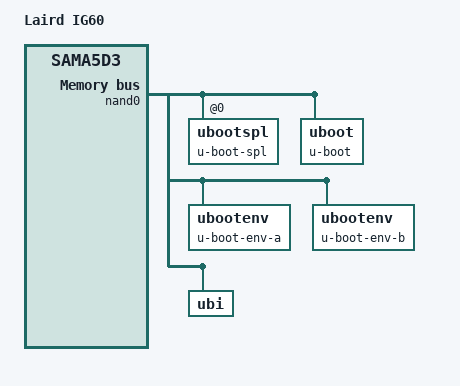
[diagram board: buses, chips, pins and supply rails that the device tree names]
/*
 * at91-ig60.dts - Device Tree file for the Sentrius IG60
 *
 *  Copyright (C) 2018 Laird Connectivity,
 *		  2018 James Kalbfleisch <james.kalbfleisch@lairdconnect.com>
 *
 * Licensed under GPLv2 or later.
 */

/dts-v1/;

#include "at91-som60_common.dtsi"
#include "at91-ig60.dtsi"

/ {
	model = "Laird IG60";
	compatible = "laird,ig60", "atmel,sama5d36", "atmel,sama5d3", "atmel,sama5";

	config {
		bootdelay = <(-2)>;
	};
};

&nand0 {
	ubootspl@0 {
		label = "u-boot-spl";
		reg = <0x0 0x20000>;
	};

	uboot@20000 {
		label = "u-boot";
		reg = <0x20000 0x80000>;
	};

	ubootenv@a0000 {
		label = "u-boot-env-a";
		reg = <0xa0000 0x20000>;
	};

	ubootenv@c0000 {
		label = "u-boot-env-b";
		reg = <0xc0000 0x20000>;
	};

	ubi@e0000 {
		label = "ubi";
		reg = <0xe0000 0x1fc00000>;
	};
};
